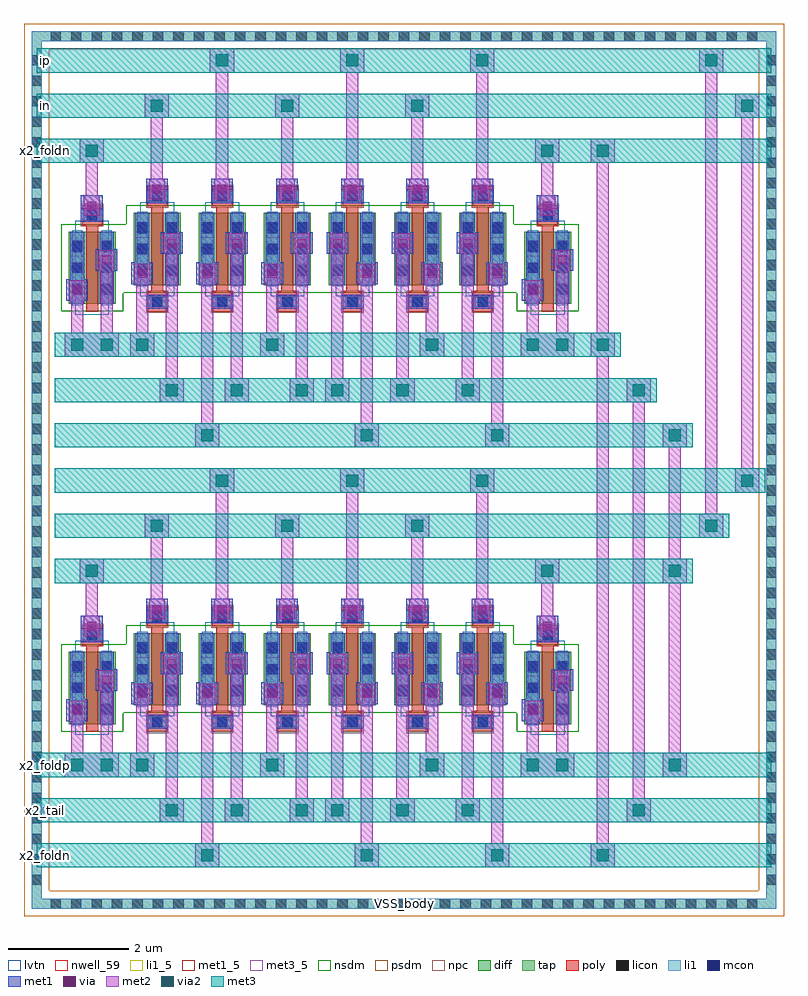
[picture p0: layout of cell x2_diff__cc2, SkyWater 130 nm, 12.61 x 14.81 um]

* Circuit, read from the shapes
.subckt x2_diff__cc2 VSS_body in ip x2_foldn x2_foldp x2_tail
XM1 x2_foldp x2_foldp x2_foldp VSS_body sky130_fd_pr__nfet_01v8_lvt w=1.2 l=0.2 m=2
XM2 x2_foldn x2_foldn x2_foldn VSS_body sky130_fd_pr__nfet_01v8_lvt w=1.2 l=0.2 m=2
XM3 x2_tail ip x2_foldp VSS_body sky130_fd_pr__nfet_01v8_lvt w=1.2 l=0.2 m=6
XM4 x2_tail in x2_foldn VSS_body sky130_fd_pr__nfet_01v8_lvt w=1.2 l=0.2 m=6
.ends

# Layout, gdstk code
from math import pi, radians
import gdstk
lib = gdstk.Library(unit=1e-6, precision=1e-09)
def R(c, l, rs):  # rectangles x0, y0, x1, y1
    for r in rs: c.add(gdstk.rectangle(r[:2], r[2:], *l))
def A(c, l, x, y, w, h, nx, ny, dx, dy):  # array of equal rectangles
    R(c, l, [(x+i*dx, y+j*dy, x+i*dx+w, y+j*dy+h) for i in range(nx) for j in range(ny)])
nwell_59 = (64, 59)
diff = (65, 20)
tap = (65, 44)
poly = (66, 20)
licon = (66, 44)
li1_5 = (67, 5)
li1 = (67, 20)
mcon = (67, 44)
met1_5 = (68, 5)
met1 = (68, 20)
via = (68, 44)
met2 = (69, 20)
via2 = (69, 44)
met3_5 = (70, 5)
met3 = (70, 20)
nsdm = (93, 44)
psdm = (94, 20)
npc = (95, 20)
lvtn = (125, 44)

sky130_fd_pr__nfet_01v8_ = lib.new_cell('sky130_fd_pr__nfet_01v8_lvt_CWMMG4')
R(sky130_fd_pr__nfet_01v8_, diff, [(-0.39,-0.755,0.39,0.445)])
R(sky130_fd_pr__nfet_01v8_, poly, [(-0.1,-0.885,0.1,0.555), (-0.165,0.555,0.165,0.885)])
A(sky130_fd_pr__nfet_01v8_, licon, -0.33, -0.58, 0.17, 0.17, 1, 3, 0, 0.34)
A(sky130_fd_pr__nfet_01v8_, licon, 0.16, -0.58, 0.17, 0.17, 1, 3, 0, 0.34)
R(sky130_fd_pr__nfet_01v8_, licon, [(-0.085,0.635,0.085,0.805)])
R(sky130_fd_pr__nfet_01v8_, li1, [(-0.33,-0.775,-0.16,0.465), (0.16,-0.775,0.33,0.465), (-0.165,0.635,0.165,0.805)])
A(sky130_fd_pr__nfet_01v8_, mcon, -0.33, -0.6, 0.17, 0.17, 1, 3, 0, 0.36)
A(sky130_fd_pr__nfet_01v8_, mcon, 0.16, -0.6, 0.17, 0.17, 1, 3, 0, 0.36)
R(sky130_fd_pr__nfet_01v8_, mcon, [(-0.085,0.635,0.085,0.805)])
R(sky130_fd_pr__nfet_01v8_, met1, [(-0.36,-0.755,-0.13,0.445), (0.13,-0.755,0.36,0.445), (-0.145,0.605,0.145,0.835)])
R(sky130_fd_pr__nfet_01v8_, nsdm, [(-0.515,-0.88,0.515,0.57)])
R(sky130_fd_pr__nfet_01v8_, npc, [(-0.185,0.535,0.185,0.905)])
R(sky130_fd_pr__nfet_01v8_, lvtn, [(-0.28,-0.935,0.28,0.625)])
sky130_fd_pr__nfet_01v8_.add(gdstk.Label('D', (-0.245,-0.155), layer=67, texttype=5))
sky130_fd_pr__nfet_01v8_.add(gdstk.Label('S', (0.245,-0.155), layer=67, texttype=5))
sky130_fd_pr__nfet_01v8_.add(gdstk.Label('G', (0,0.72), layer=67, texttype=5))

nfet_01v8_lvt_w1p2_l0p2_ = lib.new_cell('nfet_01v8_lvt_W1p2_L0p2_m2__nf1_gtop_sdfull_ng')
R(nfet_01v8_lvt_w1p2_l0p2_, nwell_59, [(0.05,0.68,0.15,0.78)])
R(nfet_01v8_lvt_w1p2_l0p2_, met1_5, [(0.03,0.73,0.26,0.93), (0.52,0.73,0.75,0.93), (0.205,1.49,0.575,1.72)])
R(nfet_01v8_lvt_w1p2_l0p2_, met1, [(0.03,0.73,0.26,0.93), (0.52,0.73,0.75,0.93), (0.205,1.49,0.575,1.72)])
nfet_01v8_lvt_w1p2_l0p2_.add(gdstk.Reference(sky130_fd_pr__nfet_01v8_, (0.39,0.885)))
nfet_01v8_lvt_w1p2_l0p2_.add(gdstk.Label('D', (0.145,0.83), layer=68, texttype=5))
nfet_01v8_lvt_w1p2_l0p2_.add(gdstk.Label('S', (0.635,0.83), layer=68, texttype=5))
nfet_01v8_lvt_w1p2_l0p2_.add(gdstk.Label('G', (0.39,1.605), layer=68, texttype=5))
nfet_01v8_lvt_w1p2_l0p2_.add(gdstk.Label('B', (0.1,0.73), layer=64, texttype=59))

c_sky130_fd_pr__nfet_01v8_ = lib.new_cell('sky130_fd_pr__nfet_01v8_lvt_A2K2V3')
R(c_sky130_fd_pr__nfet_01v8_, diff, [(-0.39,-0.6,0.39,0.6)])
R(c_sky130_fd_pr__nfet_01v8_, poly, [(-0.165,-1.04,0.165,-0.71), (-0.1,-0.71,0.1,0.71), (-0.165,0.71,0.165,1.04)])
A(c_sky130_fd_pr__nfet_01v8_, licon, -0.33, -0.425, 0.17, 0.17, 1, 3, 0, 0.34)
A(c_sky130_fd_pr__nfet_01v8_, licon, 0.16, -0.425, 0.17, 0.17, 1, 3, 0, 0.34)
R(c_sky130_fd_pr__nfet_01v8_, licon, [(-0.085,-0.96,0.085,-0.79), (-0.085,0.79,0.085,0.96)])
R(c_sky130_fd_pr__nfet_01v8_, li1, [(-0.165,-0.96,0.165,-0.79), (-0.33,-0.62,-0.16,0.62), (0.16,-0.62,0.33,0.62), (-0.165,0.79,0.165,0.96)])
A(c_sky130_fd_pr__nfet_01v8_, mcon, -0.33, -0.445, 0.17, 0.17, 1, 3, 0, 0.36)
A(c_sky130_fd_pr__nfet_01v8_, mcon, 0.16, -0.445, 0.17, 0.17, 1, 3, 0, 0.36)
R(c_sky130_fd_pr__nfet_01v8_, mcon, [(-0.085,-0.96,0.085,-0.79), (-0.085,0.79,0.085,0.96)])
R(c_sky130_fd_pr__nfet_01v8_, met1, [(-0.145,-0.99,0.145,-0.76), (-0.36,-0.6,-0.13,0.6), (0.13,-0.6,0.36,0.6), (-0.145,0.76,0.145,0.99)])
R(c_sky130_fd_pr__nfet_01v8_, nsdm, [(-0.515,-0.725,0.515,0.725)])
R(c_sky130_fd_pr__nfet_01v8_, npc, [(-0.185,-1.06,0.185,-0.69), (-0.185,0.69,0.185,1.06)])
R(c_sky130_fd_pr__nfet_01v8_, lvtn, [(-0.28,-0.78,0.28,0.78)])
c_sky130_fd_pr__nfet_01v8_.add(gdstk.Label('D', (-0.245,0), layer=67, texttype=5))
c_sky130_fd_pr__nfet_01v8_.add(gdstk.Label('S', (0.245,0), layer=67, texttype=5))
c_sky130_fd_pr__nfet_01v8_.add(gdstk.Label('G', (0,0.875), layer=67, texttype=5))

c_nfet_01v8_lvt_w1p2_l0p2_ = lib.new_cell('nfet_01v8_lvt_W1p2_L0p2_m6__nf1_gboth_sdfull_ng')
R(c_nfet_01v8_lvt_w1p2_l0p2_, nwell_59, [(0.05,0.99,0.15,1.09)])
R(c_nfet_01v8_lvt_w1p2_l0p2_, met1_5, [(0.03,1.04,0.26,1.24), (0.52,1.04,0.75,1.24), (0.205,1.8,0.575,2.03)])
R(c_nfet_01v8_lvt_w1p2_l0p2_, met1, [(0.205,0.05,0.575,0.28), (0.03,1.04,0.26,1.24), (0.52,1.04,0.75,1.24), (0.205,1.8,0.575,2.03)])
c_nfet_01v8_lvt_w1p2_l0p2_.add(gdstk.Reference(c_sky130_fd_pr__nfet_01v8_, (0.39,1.04)))
c_nfet_01v8_lvt_w1p2_l0p2_.add(gdstk.Label('D', (0.145,1.14), layer=68, texttype=5))
c_nfet_01v8_lvt_w1p2_l0p2_.add(gdstk.Label('S', (0.635,1.14), layer=68, texttype=5))
c_nfet_01v8_lvt_w1p2_l0p2_.add(gdstk.Label('G', (0.39,1.915), layer=68, texttype=5))
c_nfet_01v8_lvt_w1p2_l0p2_.add(gdstk.Label('B', (0.1,1.04), layer=64, texttype=59))

x2_diff__cc2 = lib.new_cell('x2_diff__cc2')
R(x2_diff__cc2, tap, [(-0.485,-2.935,11.875,-2.765), (-0.485,-2.765,-0.315,11.455), (11.705,-2.765,11.875,11.455), (-0.485,11.455,11.875,11.625)])
A(x2_diff__cc2, licon, -0.17, -2.935, 0.17, 0.17, 35, 2, 0.34, 14.39)
A(x2_diff__cc2, licon, -0.485, -2.54, 0.17, 0.17, 1, 41, 0, 0.34)
A(x2_diff__cc2, licon, 11.705, -2.54, 0.17, 0.17, 1, 41, 0, 0.34)
R(x2_diff__cc2, li1_5, [(5.645,-2.9,5.745,-2.8)])
R(x2_diff__cc2, li1, [(-0.485,-2.935,11.875,-2.765), (-0.485,-2.765,-0.315,11.455), (11.705,-2.765,11.875,11.455), (-0.485,11.455,11.875,11.625)])
A(x2_diff__cc2, met1, 1.17, 0.46, 0.36, 0.36, 3, 2, 1.08, 6.97)
A(x2_diff__cc2, met1, 4.9, 0.46, 0.36, 0.36, 3, 2, 1.08, 6.97)
A(x2_diff__cc2, met1, 1.66, 0.96, 0.36, 0.36, 3, 2, 1.08, 6.97)
A(x2_diff__cc2, met1, 4.41, 0.96, 0.36, 0.36, 3, 2, 1.08, 6.97)
A(x2_diff__cc2, met1, 1.415, 1.85, 0.36, 0.36, 6, 2, 1.08, 6.97)
R(x2_diff__cc2, met1, [(0.09,0.18,0.45,0.54), (7.65,0.18,8.01,0.54), (0.58,0.68,0.94,1.04), (8.14,0.68,8.5,1.04), (0.335,1.57,0.695,1.93), (7.895,1.57,8.255,1.93), (0.09,7.15,0.45,7.51), (7.65,7.15,8.01,7.51), (0.58,7.65,0.94,8.01), (8.14,7.65,8.5,8.01), (0.335,8.54,0.695,8.9), (7.895,8.54,8.255,8.9)])
A(x2_diff__cc2, via, 1.275, 0.565, 0.15, 0.15, 3, 2, 1.08, 6.97)
A(x2_diff__cc2, via, 5.005, 0.565, 0.15, 0.15, 3, 2, 1.08, 6.97)
A(x2_diff__cc2, via, 1.765, 1.065, 0.15, 0.15, 3, 2, 1.08, 6.97)
A(x2_diff__cc2, via, 4.515, 1.065, 0.15, 0.15, 3, 2, 1.08, 6.97)
A(x2_diff__cc2, via, 1.52, 1.955, 0.15, 0.15, 6, 2, 1.08, 6.97)
R(x2_diff__cc2, via, [(0.195,0.285,0.345,0.435), (7.755,0.285,7.905,0.435), (0.685,0.785,0.835,0.935), (8.245,0.785,8.395,0.935), (0.44,1.675,0.59,1.825), (8,1.675,8.15,1.825), (0.195,7.255,0.345,7.405), (7.755,7.255,7.905,7.405), (0.685,7.755,0.835,7.905), (8.245,7.755,8.395,7.905), (0.44,8.645,0.59,8.795), (8,8.645,8.15,8.795)])
A(x2_diff__cc2, met2, 1.64, -1.5, 0.4, 0.4, 3, 2, 1.08, 6.97)
A(x2_diff__cc2, met2, 4.39, -1.5, 0.4, 0.4, 3, 2, 1.08, 6.97)
A(x2_diff__cc2, met2, 1.74, -1.1, 0.2, 2.08, 3, 2, 1.08, 6.97)
A(x2_diff__cc2, met2, 4.49, -1.1, 0.2, 2.08, 3, 2, 1.08, 6.97)
A(x2_diff__cc2, met2, 1.22, 0.48, 0.26, 0.32, 3, 2, 1.08, 6.97)
A(x2_diff__cc2, met2, 4.95, 0.48, 0.26, 0.32, 3, 2, 1.08, 6.97)
A(x2_diff__cc2, met2, 1.71, 0.98, 0.26, 0.32, 3, 2, 1.08, 6.97)
A(x2_diff__cc2, met2, 4.46, 0.98, 0.26, 0.32, 3, 2, 1.08, 6.97)
A(x2_diff__cc2, met2, 1.465, 1.87, 0.26, 0.32, 6, 2, 1.08, 6.97)
A(x2_diff__cc2, met2, 1.495, 2.19, 0.2, 1.03, 3, 2, 2.16, 6.97)
A(x2_diff__cc2, met2, 2.575, 2.19, 0.2, 1.78, 3, 2, 2.16, 6.97)
A(x2_diff__cc2, met2, 1.395, 3.22, 0.4, 0.4, 3, 2, 2.16, 6.97)
A(x2_diff__cc2, met2, 2.475, 3.97, 0.4, 0.4, 3, 2, 2.16, 6.97)
R(x2_diff__cc2, met2, [(2.23,-2.25,2.63,-1.85), (4.88,-2.25,5.28,-1.85), (7.04,-2.25,7.44,-1.85), (8.79,-2.25,9.19,-1.85), (2.33,-1.85,2.53,0.48), (4.98,-1.85,5.18,0.48), (7.14,-1.85,7.34,0.48), (8.89,-1.85,9.09,6.22), (9.39,-1.5,9.79,-1.1), (9.49,-1.1,9.69,5.47), (0.07,-0.75,0.96,-0.35), (1.15,-0.75,1.55,-0.35), (3.31,-0.75,3.71,-0.35), (5.96,-0.75,6.36,-0.35), (7.63,-0.75,8.52,-0.35), (9.99,-0.75,10.39,-0.35), (0.17,-0.35,0.37,0.2), (0.66,-0.35,0.86,0.7), (1.25,-0.35,1.45,0.48), (3.41,-0.35,3.61,0.48), (6.06,-0.35,6.26,0.48), (7.73,-0.35,7.93,0.2), (8.22,-0.35,8.42,0.7), (10.09,-0.35,10.29,2.47), (0.14,0.2,0.4,0.52), (7.7,0.2,7.96,0.52), (0.63,0.7,0.89,1.02), (8.19,0.7,8.45,1.02), (0.385,1.59,0.645,1.91), (7.945,1.59,8.205,1.91), (0.415,1.91,0.615,2.47), (7.975,1.91,8.175,2.47), (0.315,2.47,0.715,2.87), (7.875,2.47,8.275,2.87), (9.99,2.47,10.39,2.87), (10.09,2.87,10.29,4.72), (10.59,3.22,10.99,3.62), (10.69,3.62,10.89,10.94), (11.19,3.97,11.59,4.37), (11.29,4.37,11.49,10.19), (2.23,4.72,2.63,5.12), (4.88,4.72,5.28,5.12), (7.04,4.72,7.44,5.12), (9.99,4.72,10.39,5.12), (2.33,5.12,2.53,7.45), (4.98,5.12,5.18,7.45), (7.14,5.12,7.34,7.45), (9.39,5.47,9.79,5.87), (0.07,6.22,0.96,6.62), (1.15,6.22,1.55,6.62), (3.31,6.22,3.71,6.62), (5.96,6.22,6.36,6.62), (7.63,6.22,8.52,6.62), (8.79,6.22,9.19,6.62), (0.17,6.62,0.37,7.17), (0.66,6.62,0.86,7.67), (1.25,6.62,1.45,7.45), (3.41,6.62,3.61,7.45), (6.06,6.62,6.26,7.45), (7.73,6.62,7.93,7.17), (8.22,6.62,8.42,7.67), (8.89,6.62,9.09,9.44), (0.14,7.17,0.4,7.49), (7.7,7.17,7.96,7.49), (0.63,7.67,0.89,7.99), (8.19,7.67,8.45,7.99), (0.385,8.56,0.645,8.88), (7.945,8.56,8.205,8.88), (0.415,8.88,0.615,9.44), (7.975,8.88,8.175,9.44), (0.315,9.44,0.715,9.84), (7.875,9.44,8.275,9.84), (8.79,9.44,9.19,9.84), (11.19,10.19,11.59,10.59), (10.59,10.94,10.99,11.34)])
A(x2_diff__cc2, via2, 1.74, -1.4, 0.2, 0.2, 3, 2, 1.08, 6.97)
A(x2_diff__cc2, via2, 4.49, -1.4, 0.2, 0.2, 3, 2, 1.08, 6.97)
A(x2_diff__cc2, via2, 1.495, 3.32, 0.2, 0.2, 3, 2, 2.16, 6.97)
A(x2_diff__cc2, via2, 2.575, 4.07, 0.2, 0.2, 3, 2, 2.16, 6.97)
R(x2_diff__cc2, via2, [(2.33,-2.15,2.53,-1.95), (4.98,-2.15,5.18,-1.95), (7.14,-2.15,7.34,-1.95), (8.89,-2.15,9.09,-1.95), (9.49,-1.4,9.69,-1.2), (0.17,-0.65,0.37,-0.45), (0.66,-0.65,0.86,-0.45), (1.25,-0.65,1.45,-0.45), (3.41,-0.65,3.61,-0.45), (6.06,-0.65,6.26,-0.45), (7.73,-0.65,7.93,-0.45), (8.22,-0.65,8.42,-0.45), (10.09,-0.65,10.29,-0.45), (0.415,2.57,0.615,2.77), (7.975,2.57,8.175,2.77), (10.09,2.57,10.29,2.77), (10.69,3.32,10.89,3.52), (11.29,4.07,11.49,4.27), (2.33,4.82,2.53,5.02), (4.98,4.82,5.18,5.02), (7.14,4.82,7.34,5.02), (10.09,4.82,10.29,5.02), (9.49,5.57,9.69,5.77), (0.17,6.32,0.37,6.52), (0.66,6.32,0.86,6.52), (1.25,6.32,1.45,6.52), (3.41,6.32,3.61,6.52), (6.06,6.32,6.26,6.52), (7.73,6.32,7.93,6.52), (8.22,6.32,8.42,6.52), (8.89,6.32,9.09,6.52), (0.415,9.54,0.615,9.74), (7.975,9.54,8.175,9.74), (8.89,9.54,9.09,9.74), (11.29,10.29,11.49,10.49), (10.69,11.04,10.89,11.24)])
A(x2_diff__cc2, met3_5, -0.3, -2.1, 0.1, 0.1, 1, 3, 0, 0.75)
A(x2_diff__cc2, met3_5, -0.3, 9.59, 0.1, 0.1, 1, 3, 0, 0.75)
A(x2_diff__cc2, met3, -0.4, -2.25, 12.19, 0.4, 1, 3, 0, 0.75)
A(x2_diff__cc2, met3, -0.4, 9.44, 12.19, 0.4, 1, 3, 0, 0.75)
R(x2_diff__cc2, met3, [(-0.1,2.47,10.49,2.87), (-0.1,3.22,11.09,3.62), (-0.1,3.97,11.69,4.37), (-0.1,4.72,10.49,5.12), (-0.1,5.47,9.89,5.87), (-0.1,6.22,9.29,6.62)])
A(x2_diff__cc2, nsdm, 2.115, 0.315, 0.05, 1.45, 5, 2, 1.08, 6.97)
R(x2_diff__cc2, nsdm, [(1.035,0.315,1.085,1.455), (7.515,0.315,7.565,1.455), (1.035,7.285,1.085,8.425), (7.515,7.285,7.565,8.425)])
R(x2_diff__cc2, psdm, [(-0.61,-3.06,12,-2.64), (-0.61,-2.64,-0.19,11.33), (11.58,-2.64,12,11.33), (-0.61,11.33,12,11.75)])
x2_diff__cc2.add(gdstk.Reference(nfet_01v8_lvt_w1p2_l0p2_, (7.69,6.97)))
x2_diff__cc2.add(gdstk.Reference(c_nfet_01v8_lvt_w1p2_l0p2_, (7.39,6.97), rotation=pi, x_reflection=True))
x2_diff__cc2.add(gdstk.Reference(c_nfet_01v8_lvt_w1p2_l0p2_, (6.31,6.97), rotation=pi, x_reflection=True))
x2_diff__cc2.add(gdstk.Reference(c_nfet_01v8_lvt_w1p2_l0p2_, (5.23,6.97), rotation=pi, x_reflection=True))
x2_diff__cc2.add(gdstk.Reference(c_nfet_01v8_lvt_w1p2_l0p2_, (3.37,6.97)))
x2_diff__cc2.add(gdstk.Reference(c_nfet_01v8_lvt_w1p2_l0p2_, (2.29,6.97)))
x2_diff__cc2.add(gdstk.Reference(c_nfet_01v8_lvt_w1p2_l0p2_, (1.21,6.97)))
x2_diff__cc2.add(gdstk.Reference(nfet_01v8_lvt_w1p2_l0p2_, (0.13,6.97)))
x2_diff__cc2.add(gdstk.Reference(nfet_01v8_lvt_w1p2_l0p2_, (7.69,0)))
x2_diff__cc2.add(gdstk.Reference(c_nfet_01v8_lvt_w1p2_l0p2_, (7.39,0), rotation=pi, x_reflection=True))
x2_diff__cc2.add(gdstk.Reference(c_nfet_01v8_lvt_w1p2_l0p2_, (6.31,0), rotation=pi, x_reflection=True))
x2_diff__cc2.add(gdstk.Reference(c_nfet_01v8_lvt_w1p2_l0p2_, (5.23,0), rotation=pi, x_reflection=True))
x2_diff__cc2.add(gdstk.Reference(c_nfet_01v8_lvt_w1p2_l0p2_, (3.37,0)))
x2_diff__cc2.add(gdstk.Reference(c_nfet_01v8_lvt_w1p2_l0p2_, (2.29,0)))
x2_diff__cc2.add(gdstk.Reference(c_nfet_01v8_lvt_w1p2_l0p2_, (1.21,0)))
x2_diff__cc2.add(gdstk.Reference(nfet_01v8_lvt_w1p2_l0p2_, (0.13,0)))
x2_diff__cc2.add(gdstk.Label('x2_foldn', (-0.25,9.64), layer=70, texttype=5))
x2_diff__cc2.add(gdstk.Label('in', (-0.25,10.39), layer=70, texttype=5))
x2_diff__cc2.add(gdstk.Label('ip', (-0.25,11.14), layer=70, texttype=5))
x2_diff__cc2.add(gdstk.Label('x2_foldp', (-0.25,-0.55), layer=70, texttype=5))
x2_diff__cc2.add(gdstk.Label('x2_tail', (-0.25,-1.3), layer=70, texttype=5))
x2_diff__cc2.add(gdstk.Label('x2_foldn', (-0.25,-2.05), layer=70, texttype=5))
x2_diff__cc2.add(gdstk.Label('VSS_body', (5.695,-2.85), layer=67, texttype=5))

lib.write_gds('x2_diff__cc2.gds')
